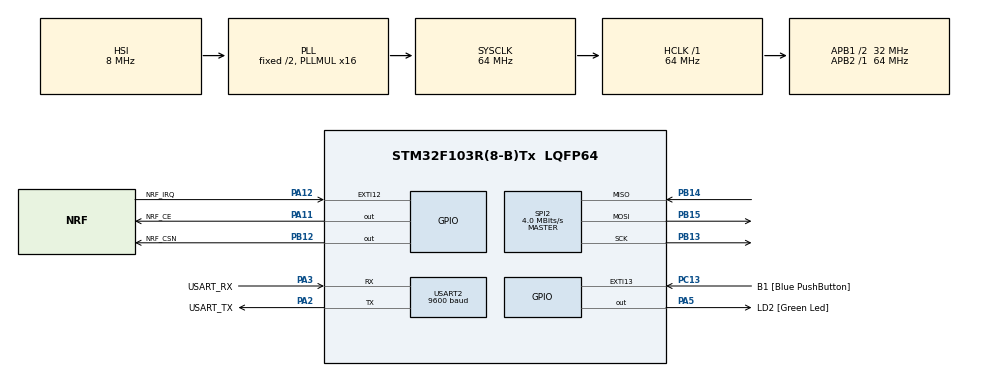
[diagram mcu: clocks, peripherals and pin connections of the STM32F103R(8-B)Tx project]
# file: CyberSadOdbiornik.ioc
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Mcu.Family=STM32F1
Mcu.Name=STM32F103R(8-B)Tx
Mcu.Package=LQFP64
NVIC.EXTI15_10_IRQn=true\:1\:0\:true\:false\:true\:true\:true
NVIC.PriorityGroup=NVIC_PRIORITYGROUP_4
PA11.GPIO_Label=NRF_CE
PA11.Signal=GPIO_Output
PA12.GPIO_Label=NRF_IRQ
PA12.GPIO_ModeDefaultEXTI=GPIO_MODE_IT_FALLING
PA12.Signal=GPXTI12
PA13.GPIO_Label=TMS
PA13.Mode=Serial_Wire
PA13.Signal=SYS_JTMS-SWDIO
PA14.GPIO_Label=TCK
PA14.Mode=Serial_Wire
PA14.Signal=SYS_JTCK-SWCLK
PA2.GPIO_Label=USART_TX
PA2.GPIO_Mode=GPIO_MODE_AF_PP
PA2.GPIO_PuPd=GPIO_NOPULL
PA2.GPIO_Speed=GPIO_SPEED_FREQ_LOW
PA2.Mode=Asynchronous
PA2.Signal=USART2_TX
PA3.GPIO_Label=USART_RX
PA3.GPIO_Mode=GPIO_MODE_AF_PP
PA3.GPIO_PuPd=GPIO_NOPULL
PA3.GPIO_Speed=GPIO_SPEED_FREQ_LOW
PA3.Mode=Asynchronous
PA3.Signal=USART2_RX
PA5.GPIO_Label=LD2 [Green Led]
PA5.GPIO_ModeDefaultOutputPP=GPIO_MODE_OUTPUT_PP
PA5.GPIO_PuPd=GPIO_NOPULL
PA5.GPIO_Speed=GPIO_SPEED_FREQ_LOW
PA5.Signal=GPIO_Output
PB12.GPIO_Label=NRF_CSN
PB12.Signal=GPIO_Output
PB13.Mode=Full_Duplex_Master
PB13.Signal=SPI2_SCK
PB14.Mode=Full_Duplex_Master
PB14.Signal=SPI2_MISO
PB15.Mode=Full_Duplex_Master
PB15.Signal=SPI2_MOSI
PB3.GPIO_Label=SWO
PB3.Signal=SYS_JTDO-TRACESWO
PC13-TAMPER-RTC.GPIO_Label=B1 [Blue PushButton]
PC13-TAMPER-RTC.GPIO_PuPd=GPIO_NOPULL
PC13-TAMPER-RTC.Signal=GPXTI13
PC14-OSC32_IN.Mode=LSE-External-Oscillator
PC14-OSC32_IN.Signal=RCC_OSC32_IN
PC15-OSC32_OUT.Mode=LSE-External-Oscillator
PC15-OSC32_OUT.Signal=RCC_OSC32_OUT
PD0-OSC_IN.Mode=HSE-External-Clock-Source
PD0-OSC_IN.Signal=RCC_OSC_IN
PD1-OSC_OUT.Mode=HSE-External-Clock-Source
PD1-OSC_OUT.Signal=RCC_OSC_OUT
ProjectManager.HeapSize=0x200
ProjectManager.StackSize=0x400
ProjectManager.TargetToolchain=STM32CubeIDE
RCC.AHBFreq_Value=64000000
RCC.APB1CLKDivider=RCC_HCLK_DIV2
RCC.APB1Freq_Value=32000000
RCC.APB1TimFreq_Value=64000000
RCC.APB2Freq_Value=64000000
RCC.APB2TimFreq_Value=64000000
RCC.HCLKFreq_Value=64000000
RCC.PLLMUL=RCC_PLL_MUL16
RCC.RTCClockSelection=RCC_RTCCLKSOURCE_LSE
RCC.SYSCLKFreq_VALUE=64000000
RCC.SYSCLKSource=RCC_SYSCLKSOURCE_PLLCLK
RCC.USBFreq_Value=64000000
SPI2.BaudRatePrescaler=SPI_BAUDRATEPRESCALER_8
SPI2.CalculateBaudRate=4.0 MBits/s
SPI2.Direction=SPI_DIRECTION_2LINES
SPI2.Mode=SPI_MODE_MASTER
SPI2.VirtualType=VM_MASTER
USART2.BaudRate=9600
USART2.VirtualMode=VM_ASYNC
board=NUCLEO-F103RB

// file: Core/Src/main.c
/* USER CODE BEGIN Header */
/**
  ******************************************************************************
  * @file           : main.c
  * @brief          : Main program body
  ******************************************************************************
  * @attention
  *
  * <h2><center>&copy; Copyright (c) 2020 STMicroelectronics.
  * All rights reserved.</center></h2>
  *
  * This software component is licensed by ST under BSD 3-Clause license,
  * the "License"; You may not use this file except in compliance with the
  * License. You may obtain a copy of the License at:
  *                        opensource.org/licenses/BSD-3-Clause
  *
  ******************************************************************************
  */
/* USER CODE END Header */
#include "main.h"

SPI_HandleTypeDef hspi2;

UART_HandleTypeDef huart2;

/* USER CODE BEGIN PV */
nrf24l01 nrf;

static const uint8_t rx_address[5] = {1,2,3,4,5};
static const uint8_t tx_address[5] = {1,2,3,4,5};
/* USER CODE END PV */

void SystemClock_Config(void);
static void MX_GPIO_Init(void);
static void MX_USART2_UART_Init(void);
static void MX_SPI2_Init(void);
/* USER CODE BEGIN PFP */
void NRF_Config(uint32_t* rx_data);
void HAL_GPIO_EXTI_Callback(uint16_t GPIO_Pin);
/* USER CODE END PFP */

int main(void)
{
  /* USER CODE BEGIN 1 */
  char *s="hello world";
  uint32_t data=0b1011001;
  uint32_t* datap;
  datap=&data;
  /* USER CODE END 1 */

  /* MCU Configuration--------------------------------------------------------*/

  /* Reset of all peripherals, Initializes the Flash interface and the Systick. */
  HAL_Init();

  /* Configure the system clock */
  SystemClock_Config();

  /* Initialize all configured peripherals */
  MX_GPIO_Init();
  MX_USART2_UART_Init();
  MX_SPI2_Init();
  /* USER CODE BEGIN 2 */
  //HAL_UART_Transmit_IT() non blockin mode

  HAL_UART_Transmit(&huart2, (uint8_t*)s, strlen(s), 1000);
  NRF_Config(&data);

  /* USER CODE END 2 */

  /* Infinite loop */
  /* USER CODE BEGIN WHILE */
  while (1)
  {

  	nrf_receive_packet(&nrf);
  	HAL_UART_Transmit(&huart2, (uint8_t*)&data, 1 , 1000);
  	//  	HAL_UART_Transmit(&huart2, datap, 1 , 1000);

    /* USER CODE END WHILE */

  }
}

void SystemClock_Config(void)
{
  RCC_OscInitTypeDef RCC_OscInitStruct = {0};
  RCC_ClkInitTypeDef RCC_ClkInitStruct = {0};

  /** Initializes the RCC Oscillators according to the specified parameters
  * in the RCC_OscInitTypeDef structure.
  */
  RCC_OscInitStruct.OscillatorType = RCC_OSCILLATORTYPE_HSI;
  RCC_OscInitStruct.HSIState = RCC_HSI_ON;
  RCC_OscInitStruct.HSICalibrationValue = RCC_HSICALIBRATION_DEFAULT;
  RCC_OscInitStruct.PLL.PLLState = RCC_PLL_ON;
  RCC_OscInitStruct.PLL.PLLSource = RCC_PLLSOURCE_HSI_DIV2;
  RCC_OscInitStruct.PLL.PLLMUL = RCC_PLL_MUL16;
  if (HAL_RCC_OscConfig(&RCC_OscInitStruct) != HAL_OK)
  {
    Error_Handler();
  }
  /** Initializes the CPU, AHB and APB buses clocks
  */
  RCC_ClkInitStruct.ClockType = RCC_CLOCKTYPE_HCLK|RCC_CLOCKTYPE_SYSCLK
                              |RCC_CLOCKTYPE_PCLK1|RCC_CLOCKTYPE_PCLK2;
  RCC_ClkInitStruct.SYSCLKSource = RCC_SYSCLKSOURCE_PLLCLK;
  RCC_ClkInitStruct.AHBCLKDivider = RCC_SYSCLK_DIV1;
  RCC_ClkInitStruct.APB1CLKDivider = RCC_HCLK_DIV2;
  RCC_ClkInitStruct.APB2CLKDivider = RCC_HCLK_DIV1;

  if (HAL_RCC_ClockConfig(&RCC_ClkInitStruct, FLASH_LATENCY_2) != HAL_OK)
  {
    Error_Handler();
  }
}

static void MX_SPI2_Init(void)
{

  /* SPI2 parameter configuration*/
  hspi2.Instance = SPI2;
  hspi2.Init.Mode = SPI_MODE_MASTER;
  hspi2.Init.Direction = SPI_DIRECTION_2LINES;
  hspi2.Init.DataSize = SPI_DATASIZE_8BIT;
  hspi2.Init.CLKPolarity = SPI_POLARITY_LOW;
  hspi2.Init.CLKPhase = SPI_PHASE_1EDGE;
  hspi2.Init.NSS = SPI_NSS_SOFT;
  hspi2.Init.BaudRatePrescaler = SPI_BAUDRATEPRESCALER_8;
  hspi2.Init.FirstBit = SPI_FIRSTBIT_MSB;
  hspi2.Init.TIMode = SPI_TIMODE_DISABLE;
  hspi2.Init.CRCCalculation = SPI_CRCCALCULATION_DISABLE;
  hspi2.Init.CRCPolynomial = 10;
  if (HAL_SPI_Init(&hspi2) != HAL_OK)
  {
    Error_Handler();
  }

}

static void MX_USART2_UART_Init(void)
{

  huart2.Instance = USART2;
  huart2.Init.BaudRate = 9600;
  huart2.Init.WordLength = UART_WORDLENGTH_8B;
  huart2.Init.StopBits = UART_STOPBITS_1;
  huart2.Init.Parity = UART_PARITY_NONE;
  huart2.Init.Mode = UART_MODE_TX_RX;
  huart2.Init.HwFlowCtl = UART_HWCONTROL_NONE;
  huart2.Init.OverSampling = UART_OVERSAMPLING_16;
  if (HAL_UART_Init(&huart2) != HAL_OK)
  {
    Error_Handler();
  }

}

static void MX_GPIO_Init(void)
{
  GPIO_InitTypeDef GPIO_InitStruct = {0};

  /* GPIO Ports Clock Enable */
  __HAL_RCC_GPIOC_CLK_ENABLE();
  __HAL_RCC_GPIOD_CLK_ENABLE();
  __HAL_RCC_GPIOA_CLK_ENABLE();
  __HAL_RCC_GPIOB_CLK_ENABLE();

  /*Configure GPIO pin Output Level */
  HAL_GPIO_WritePin(GPIOA, LD2_Pin|NRF_CE_Pin, GPIO_PIN_RESET);

  /*Configure GPIO pin Output Level */
  HAL_GPIO_WritePin(NRF_CSN_GPIO_Port, NRF_CSN_Pin, GPIO_PIN_RESET);

  /*Configure GPIO pin : B1_Pin */
  GPIO_InitStruct.Pin = B1_Pin;
  GPIO_InitStruct.Mode = GPIO_MODE_IT_RISING;
  GPIO_InitStruct.Pull = GPIO_NOPULL;
  HAL_GPIO_Init(B1_GPIO_Port, &GPIO_InitStruct);

  /*Configure GPIO pins : LD2_Pin NRF_CE_Pin */
  GPIO_InitStruct.Pin = LD2_Pin|NRF_CE_Pin;
  GPIO_InitStruct.Mode = GPIO_MODE_OUTPUT_PP;
  GPIO_InitStruct.Pull = GPIO_NOPULL;
  GPIO_InitStruct.Speed = GPIO_SPEED_FREQ_LOW;
  HAL_GPIO_Init(GPIOA, &GPIO_InitStruct);

  /*Configure GPIO pin : NRF_CSN_Pin */
  GPIO_InitStruct.Pin = NRF_CSN_Pin;
  GPIO_InitStruct.Mode = GPIO_MODE_OUTPUT_PP;
  GPIO_InitStruct.Pull = GPIO_NOPULL;
  GPIO_InitStruct.Speed = GPIO_SPEED_FREQ_LOW;
  HAL_GPIO_Init(NRF_CSN_GPIO_Port, &GPIO_InitStruct);

  /*Configure GPIO pin : NRF_IRQ_Pin */
  GPIO_InitStruct.Pin = NRF_IRQ_Pin;
  GPIO_InitStruct.Mode = GPIO_MODE_IT_FALLING;
  GPIO_InitStruct.Pull = GPIO_NOPULL;
  HAL_GPIO_Init(NRF_IRQ_GPIO_Port, &GPIO_InitStruct);

  /* EXTI interrupt init*/
  HAL_NVIC_SetPriority(EXTI15_10_IRQn, 1, 0);
  HAL_NVIC_EnableIRQ(EXTI15_10_IRQn);

}

/* USER CODE BEGIN 4 */
void NRF_Config(uint32_t* rx_data)
{
		//nrf24l01 nrf;
		uint32_t rx_data2;

	    nrf24l01_config config;
        config.data_rate        = NRF_DATA_RATE_1MBPS;
        config.tx_power         = NRF_TX_PWR_0dBm;
        config.crc_width        = NRF_CRC_WIDTH_1B;
        config.addr_width       = NRF_ADDR_WIDTH_5;
        config.payload_length   = 1;    // maximum is 32 bytes
        config.retransmit_count = 15;   // maximum is 15 times
        config.retransmit_delay = 0x0F; // 4000us, LSB:250us
        config.rf_channel       = 123;
        config.rx_address       = rx_address;
        config.tx_address       = tx_address;
        config.rx_buffer        = (uint8_t*)rx_data;

        config.spi         = &hspi2;
        config.spi_timeout = 10; // milliseconds
        config.ce_port     = NRF_CE_GPIO_Port;
        config.ce_pin      = NRF_CE_Pin;
        config.irq_port    = NRF_IRQ_GPIO_Port;
        config.irq_pin     = NRF_IRQ_Pin;
        config.csn_port    = NRF_CSN_GPIO_Port;
        config.csn_pin     = NRF_CSN_Pin;
        nrf_init(&nrf, &config);
}

void HAL_GPIO_EXTI_Callback(uint16_t GPIO_Pin)
{

	//HAL_GPIO_WritePin(GPIOC, GPIO_PIN_3, GPIO_PIN_RESET);
	//HAL_GPIO_WritePin(LED_GPIO_Port, LED_Pin, GPIO_PIN_SET);
//	if(GPIO_Pin == GPIO_PIN_12)
//	{
		nrf_irq_handler(&nrf);
//	}
//	HAL_Delay(1000);

}
/* USER CODE END 4 */

void Error_Handler(void)
{
}

/************************ (C) COPYRIGHT STMicroelectronics *****END OF FILE****/
